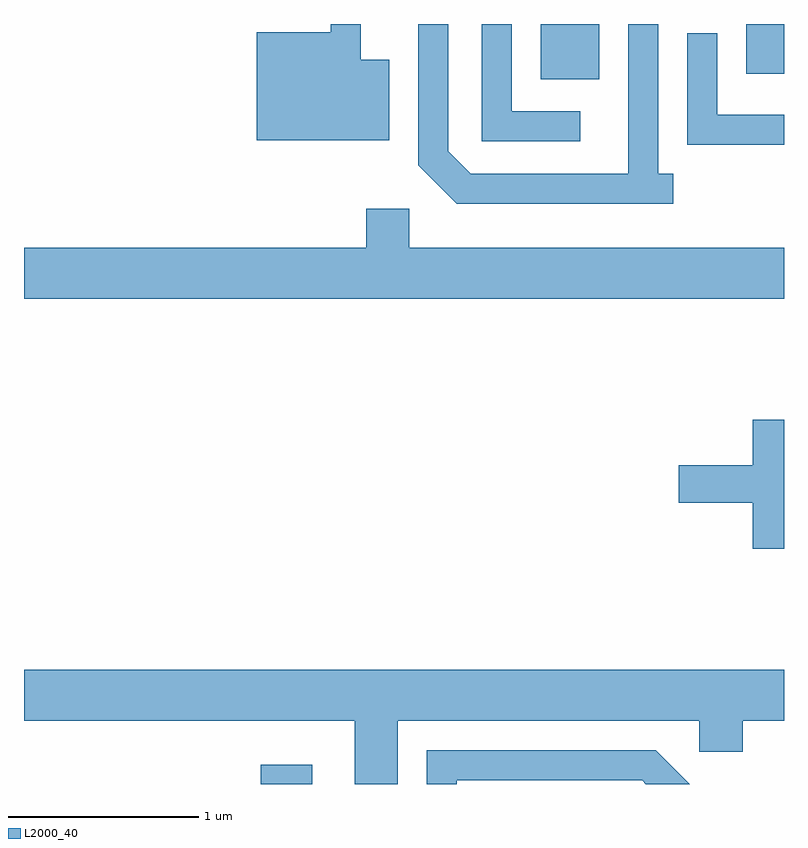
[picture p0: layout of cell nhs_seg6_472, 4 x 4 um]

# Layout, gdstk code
import gdstk
lib = gdstk.Library(unit=1e-6, precision=1e-09)
def R(c, l, rs):  # rectangles x0, y0, x1, y1
    for r in rs: c.add(gdstk.rectangle(r[:2], r[2:], *l))
def P(c, l, *ps):  # polygons
    for p in ps: c.add(gdstk.Polygon(p, *l))
L2000_40 = (2000, 40)

nhs_seg6_472 = lib.new_cell('nhs_seg6_472')
R(nhs_seg6_472, L2000_40, [(200.856,1534.162,201.128,1534.264), (202.331,1537.871,202.639,1538.162), (203.411,1537.901,203.611,1538.162)])
P(nhs_seg6_472, L2000_40, [(202.538,1537.704),(202.179,1537.704),(202.179,1538.162),(202.021,1538.162),(202.021,1537.546),(202.538,1537.546)],
  [(201.534,1537.974),(201.384,1537.974),(201.384,1538.162),(201.226,1538.162),(201.226,1538.119),(200.836,1538.119),(200.836,1537.551),(201.534,1537.551)],
  [(203.028,1537.374),(202.949,1537.374),(202.949,1538.162),(202.791,1538.162),(202.791,1537.374),(201.962,1537.374),(201.844,1537.492),(201.844,1538.162),(201.686,1538.162),(201.686,1537.419),(201.889,1537.216),(203.028,1537.216)],
  [(203.611,1537.684),(203.259,1537.684),(203.259,1538.113),(203.101,1538.113),(203.101,1537.526),(203.611,1537.526)],
  [(203.611,1536.984),(201.639,1536.984),(201.639,1537.189),(201.411,1537.189),(201.411,1536.984),(199.611,1536.984),(199.611,1536.716),(203.611,1536.716)],
  [(203.611,1536.079),(203.446,1536.079),(203.446,1535.839),(203.056,1535.839),(203.056,1535.641),(203.446,1535.641),(203.446,1535.401),(203.611,1535.401)],
  [(201.579,1534.496),(203.166,1534.496),(203.166,1534.331),(203.394,1534.331),(203.394,1534.496),(203.611,1534.496),(203.611,1534.764),(199.611,1534.764),(199.611,1534.496),(201.351,1534.496),(201.351,1534.162),(201.579,1534.162)],
  [(201.889,1534.181),(202.864,1534.181),(202.883,1534.162),(203.114,1534.162),(202.937,1534.339),(201.731,1534.339),(201.731,1534.162),(201.889,1534.162)])

lib.write_gds('nhs_seg6_472.gds')
